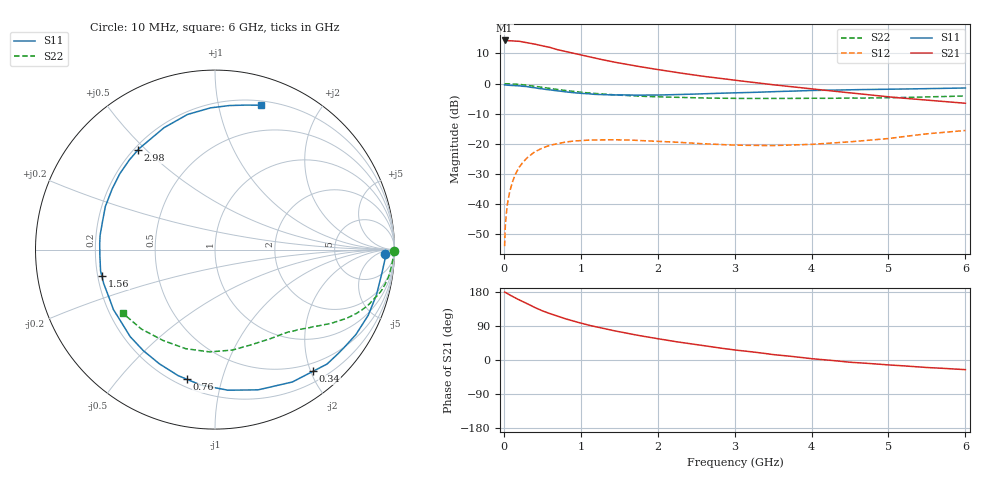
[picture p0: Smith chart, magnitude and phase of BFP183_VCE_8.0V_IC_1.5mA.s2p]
! Infineon Technologies  Discrete & RF Semiconductors
! BFP183
! VCE = 8.0 V,  IC =  1.5 mA
! Common Emitter S-Parameters:  Jan 2016
# GHz  S  MA  R  50
!  f  S11  S21  S12  S22
! GHz  MAG  ANG  MAG  ANG  MAG  ANG  MAG  ANG
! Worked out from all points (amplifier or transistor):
!   210 points, 10 MHz to 6 GHz, reference 50 ohm
!   highest |S21| = 14.3 dB at 10 MHz (marker M1)
!   |S21| within 3 dB of that: start of sweep to 689.8 MHz
!   unconditionally stable (mu >= 1): 2.329 GHz to 5.946 GHz
!   at 185 MHz: K = 0.09, MSG = 21.2 dB, |S12| = -28.4 dB
!   at 1.52 GHz: K = 0.64, MSG = 12.7 dB, |S12| = -18.7 dB
!   at 6 GHz: K = 0.98, MSG = 4.5 dB, |S12| = -15.6 dB
!   S11 on the Smith chart (normalised r, x): 10 MHz: 30, -16; 340 MHz: 0.36, -2.04; 760 MHz: 0.24, -0.78; 1.56 GHz: 0.22, -0.11; 2.98 GHz: 0.22, +0.47; 6 GHz: 0.24, +1.34
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0.01  0.9486 -1.6  5.193 179.1  0.002 92.8  0.9998 -0.6
0.02  0.9487 -3.2  5.184 178.4  0.0044 89.0  0.9901 -1.1
0.035  0.9432 -5.5  5.174 176.5  0.0075 88.6  0.9916 -2.0
0.09  0.934 -14.1  5.126 170.3  0.0186 81.6  0.9878 -5.0
0.15  0.9288 -23.2  5.048 163.8  0.0312 76.0  0.9806 -8.5
0.22  0.9085 -34.1  4.979 156.3  0.0443 69.9  0.9637 -12.2
0.34  0.8709 -51.1  4.659 145.0  0.064 60.1  0.9235 -17.8
0.4  0.8543 -59.7  4.526 138.8  0.0732 56.0  0.9048 -20.4
0.5  0.8175 -72.9  4.239 129.8  0.085 48.9  0.8658 -24.2
0.6  0.7868 -84.7  3.979 122.3  0.0945 43.0  0.8293 -27.4
0.76  0.7395 -102.1  3.507 111.6  0.1044 34.7  0.7786 -31.4
0.9  0.7079 -115.9  3.199 102.9  0.1112 28.8  0.7408 -34.3
1.02  0.6864 -127.0  2.942 96.3  0.1134 24.3  0.7137 -36.6
1.28  0.657 -147.9  2.492 83.9  0.1168 16.8  0.6701 -40.8
1.56  0.6475 -166.9  2.121 72.2  0.1159 11.2  0.6377 -44.7
2.02  0.6456 166.5  1.693 55.6  0.1102 5.7  0.6017 -51.5
2.58  0.6764 142.2  1.327 38.4  0.1004 4.1  0.5771 -61.3
2.98  0.702 127.7  1.147 27.1  0.0953 5.9  0.5675 -69.0
3.1  0.7066 124.0  1.098 24.4  0.0946 7.1  0.5658 -71.5
4.1  0.7709 99.5  0.792 1.8  0.0998 18.8  0.5692 -95.6
5.1  0.8092 83.0  0.585 -14.2  0.1271 26.7  0.5846 -122.4
6  0.8443 72.3  0.471 -25.5  0.1664 22.8  0.6241 -145.4
